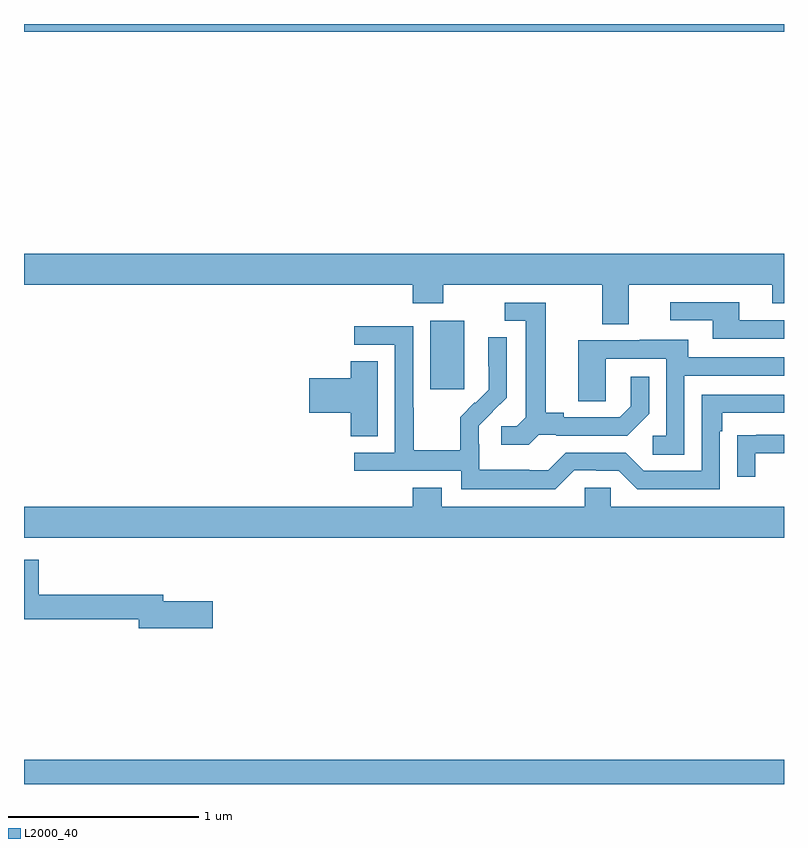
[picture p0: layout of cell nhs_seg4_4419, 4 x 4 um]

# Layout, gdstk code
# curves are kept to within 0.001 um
import gdstk
lib = gdstk.Library(unit=1e-6, precision=1e-09)
def R(c, l, rs):  # rectangles x0, y0, x1, y1
    for r in rs: c.add(gdstk.rectangle(r[:2], r[2:], *l))
def P(c, l, *ps):  # polygons
    for p in ps: c.add(gdstk.Polygon(p, *l))
L2000_40 = (2000, 40)

nhs_seg4_4419 = lib.new_cell('nhs_seg4_4419')
R(nhs_seg4_4419, L2000_40, [(349,752.9,353,753.028), (351.137,754.977,351.316,755.338), (349,756.86,353,756.9)])
P(nhs_seg4_4419, L2000_40, [(352.183,755.528),(352.937,755.528),(352.937,755.429),(353,755.429),(353,755.692),(349,755.692),(349,755.528),(351.047,755.528),(351.047,755.429),(351.207,755.429),(351.207,755.528),(352.043,755.528),(352.043,755.32),(352.183,755.32)],
  [(353,755.34),(352.765,755.34),(352.765,755.436),(352.401,755.436),(352.401,755.34),(352.625,755.34),(352.625,755.244),(353,755.244)],
  [(351.708,754.737),(351.802,754.737),(351.802,754.734),(352.174,754.734),(352.29,754.85),(352.29,755.044),(352.193,755.044),(352.193,754.887),(352.136,754.83),(351.841,754.83),(351.841,754.853),(351.745,754.853),(351.745,755.433),(351.531,755.433),(351.531,755.337),(351.641,755.337),(351.641,754.829),(351.594,754.782),(351.513,754.782),(351.513,754.685),(351.656,754.685)],
  [(351.897,754.551),(352.013,754.551),(352.013,754.548),(352.131,754.548),(352.227,754.452),(352.662,754.452),(352.662,754.757),(352.675,754.757),(352.675,754.854),(353,754.854),(353,754.95),(352.566,754.95),(352.566,754.548),(352.263,754.548),(352.167,754.644),(351.852,754.644),(351.759,754.551),(351.659,754.551),(351.659,754.555),(351.396,754.555),(351.396,754.689),(351.394,754.689),(351.394,754.786),(351.54,754.934),(351.54,755.252),(351.444,755.252),(351.444,755.098),(351.446,755.098),(351.446,754.976),(351.375,754.905),(351.372,754.908),(351.295,754.831),(351.295,754.657),(351.051,754.657),(351.051,754.88),(351.048,754.88),(351.048,755.31),(350.739,755.31),(350.739,755.211),(350.952,755.211),(350.952,754.644),(350.739,754.644),(350.739,754.548),(351.3,754.548),(351.3,754.451),(351.797,754.451)],
  [(352.476,755.049),(353,755.049),(353,755.145),(352.495,755.145),(352.495,755.239),(352.241,755.239),(352.241,755.235),(351.917,755.235),(351.917,754.915),(352.062,754.915),(352.062,755.139),(352.38,755.139),(352.38,754.734),(352.308,754.734),(352.308,754.633),(352.476,754.633)],
  [(350.863,755.126),(350.72,755.126),(350.72,755.036),(350.502,755.036),(350.502,754.853),(350.72,754.853),(350.72,754.729),(350.863,754.729)],
  [(352.849,754.641),(353,754.641),(353,754.737),(352.855,754.737),(352.855,754.736),(352.753,754.736),(352.753,754.518),(352.849,754.518)],
  [(353,754.36),(352.089,754.36),(352.089,754.458),(351.951,754.458),(351.951,754.36),(351.199,754.36),(351.199,754.459),(351.047,754.459),(351.047,754.36),(349,754.36),(349,754.196),(353,754.196)],
  [(349.993,753.861),(349.732,753.861),(349.732,753.895),(349.078,753.895),(349.078,754.081),(349,754.081),(349,753.766),(349.604,753.766),(349.604,753.719),(349.993,753.719)])

lib.write_gds('nhs_seg4_4419.gds')
